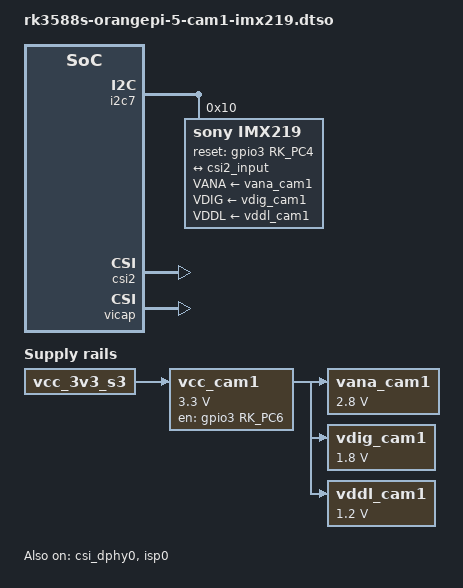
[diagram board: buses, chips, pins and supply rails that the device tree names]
// SPDX-License-Identifier: (GPL-2.0+ OR MIT)
/*
 * Device tree overlay for a Sony IMX219 camera module (e.g. Raspberry Pi
 * Camera Module v2) attached through an adapter to the CAM1 connector of
 * the Orange Pi 5 / 5B.
 *
 * CAM1 is wired to MIPI CSI D-PHY 0 (csi_dphy0, full mode) which feeds the
 * MIPI CSI-2 receiver csi2 and VICAP port mipi2. The sensor control bus is
 * I2C7 (M0 pins), the master clock is CLK_MIPI_CAMARAOUT_M3 on GPIO1_D6,
 * the sensor reset line is GPIO3_C4 and the module power-down/enable line is
 * GPIO3_C6. This mapping is taken from the Xunlong vendor kernel
 * (rk3588s-orangepi-5-camera1.dtsi); CAM2 and CAM3 are wired to the
 * MIPI DC-PHYs, which have no camera (RX) support in mainline yet.
 *
 * The official Xunlong OV13850 / OV13855 modules have no mainline sensor
 * driver, hence the IMX219 for testing. The IMX219 module has its own
 * regulators, which are modelled here as fixed regulators switched by the
 * CAM1 power-down/enable GPIO.
 *
 * The RK3588 ISP0 is enabled as well so that the rkisp2 memory-to-memory
 * path (libcamera rkisp2 pipeline) can be used on frames captured by VICAP.
 */

/dts-v1/;
/plugin/;

#include <dt-bindings/clock/rockchip,rk3588-cru.h>
#include <dt-bindings/gpio/gpio.h>
#include <dt-bindings/media/video-interfaces.h>
#include <dt-bindings/pinctrl/rockchip.h>

&{/} {
	vcc_cam1: regulator-vcc-cam1 {
		compatible = "regulator-fixed";
		enable-active-high;
		gpio = <&gpio3 RK_PC6 GPIO_ACTIVE_HIGH>;
		pinctrl-names = "default";
		pinctrl-0 = <&cam1_pwr_en>;
		regulator-name = "vcc_cam1";
		regulator-min-microvolt = <3300000>;
		regulator-max-microvolt = <3300000>;
		startup-delay-us = <2000>;
		vin-supply = <&vcc_3v3_s3>;
	};

	vana_cam1: regulator-vana-cam1 {
		compatible = "regulator-fixed";
		regulator-name = "vana_cam1";
		regulator-min-microvolt = <2800000>;
		regulator-max-microvolt = <2800000>;
		vin-supply = <&vcc_cam1>;
	};

	vdig_cam1: regulator-vdig-cam1 {
		compatible = "regulator-fixed";
		regulator-name = "vdig_cam1";
		regulator-min-microvolt = <1800000>;
		regulator-max-microvolt = <1800000>;
		vin-supply = <&vcc_cam1>;
	};

	vddl_cam1: regulator-vddl-cam1 {
		compatible = "regulator-fixed";
		regulator-name = "vddl_cam1";
		regulator-min-microvolt = <1200000>;
		regulator-max-microvolt = <1200000>;
		vin-supply = <&vcc_cam1>;
	};
};

&i2c7 {
	#address-cells = <1>;
	#size-cells = <0>;
	pinctrl-names = "default";
	pinctrl-0 = <&i2c7m0_xfer>;
	status = "okay";

	imx219: camera-sensor@10 {
		compatible = "sony,imx219";
		reg = <0x10>;
		assigned-clocks = <&cru CLK_MIPI_CAMARAOUT_M3>;
		assigned-clock-rates = <24000000>;
		clocks = <&cru CLK_MIPI_CAMARAOUT_M3>;
		pinctrl-names = "default";
		pinctrl-0 = <&mipim0_camera3_clk &cam1_rstn>;
		reset-gpios = <&gpio3 RK_PC4 GPIO_ACTIVE_HIGH>;
		VANA-supply = <&vana_cam1>;
		VDIG-supply = <&vdig_cam1>;
		VDDL-supply = <&vddl_cam1>;

		port {
			imx219_output: endpoint {
				data-lanes = <1 2>;
				link-frequencies = /bits/ 64 <456000000>;
				remote-endpoint = <&csi2_input>;
			};
		};
	};
};

&pinctrl {
	cam1 {
		cam1_pwr_en: cam1-pwr-en-pinctrl {
			rockchip,pins = <3 RK_PC6 RK_FUNC_GPIO &pcfg_pull_none>;
		};

		cam1_rstn: cam1-rstn-pinctrl {
			rockchip,pins = <3 RK_PC4 RK_FUNC_GPIO &pcfg_pull_none>;
		};
	};
};

&csi_dphy0 {
	status = "okay";
};

&csi2 {
	status = "okay";
};

&csi2_in {
	csi2_input: endpoint {
		bus-type = <MEDIA_BUS_TYPE_CSI2_DPHY>;
		data-lanes = <1 2>;
		link-frequencies = /bits/ 64 <456000000>;
		remote-endpoint = <&imx219_output>;
	};
};

&vicap {
	status = "okay";
};

&vicap_mmu {
	status = "okay";
};

&isp0 {
	status = "okay";
};

&isp0_mmu {
	status = "okay";
};
